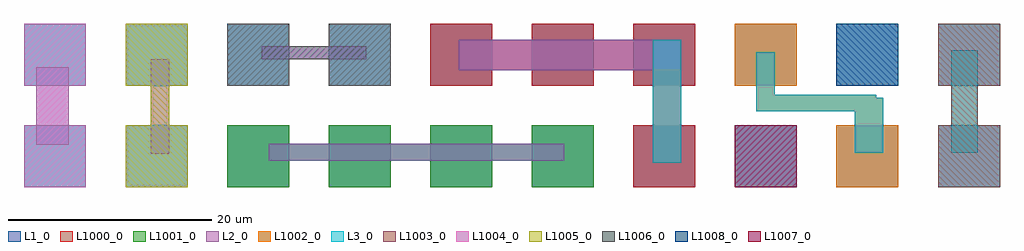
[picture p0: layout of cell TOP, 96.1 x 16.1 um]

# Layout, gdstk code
import gdstk
lib = gdstk.Library(unit=1e-6, precision=1e-09)
def R(c, l, rs):  # rectangles x0, y0, x1, y1
    for r in rs: c.add(gdstk.rectangle(r[:2], r[2:], *l))
def A(c, l, x, y, w, h, nx, ny, dx, dy):  # array of equal rectangles
    R(c, l, [(x+i*dx, y+j*dy, x+i*dx+w, y+j*dy+h) for i in range(nx) for j in range(ny)])
L1_0 = (1, 0)
L2_0 = (2, 0)
L3_0 = (3, 0)
L1000_0 = (1000, 0)
L1001_0 = (1001, 0)
L1002_0 = (1002, 0)
L1003_0 = (1003, 0)
L1004_0 = (1004, 0)
L1005_0 = (1005, 0)
L1006_0 = (1006, 0)
L1007_0 = (1007, 0)
L1008_0 = (1008, 0)

c_c1 = lib.new_cell('C1')
R(c_c1, L1_0, [(-2.9,-2.9,3.2,3.2)])

top = lib.new_cell('TOP')
R(top, L2_0, [(38.6,8.6,67.7,10.3), (27,9.3,28.8,18.6), (15.7,10.2,18.9,17.8), (57.3,17.5,79.1,20.5), (37.9,18.6,48.2,19.9)])
R(top, L3_0, [(76.4,8.4,79.2,20.5), (96.3,9.4,99.1,14.8), (105.8,9.4,108.4,19.5), (86.6,13.5,98.4,15.1), (86.6,14.7,88.4,19.3)])
A(top, L1000_0, 54.5, 16, 6.1, 6.1, 3, 1, 10, 0)
R(top, L1000_0, [(74.5,6,80.6,12.1), (76.4,8.4,79.2,20.5), (57.3,17.5,79.1,20.5)])
A(top, L1001_0, 34.5, 6, 6.1, 6.1, 4, 1, 10, 0)
R(top, L1001_0, [(38.6,8.6,67.7,10.3)])
R(top, L1002_0, [(94.5,6,100.6,12.1), (96.3,9.4,99.1,14.8), (86.6,13.5,98.4,15.1), (86.6,14.7,88.4,19.3), (84.5,16,90.6,22.1)])
R(top, L1003_0, [(104.5,6,110.6,12.1), (105.8,9.4,108.4,19.5), (104.5,16,110.6,22.1)])
R(top, L1004_0, [(14.5,6,20.6,12.1), (15.7,10.2,18.9,17.8), (14.5,16,20.6,22.1)])
R(top, L1005_0, [(24.5,6,30.6,12.1), (27,9.3,28.8,18.6), (24.5,16,30.6,22.1)])
R(top, L1006_0, [(34.5,16,40.6,22.1), (44.5,16,50.6,22.1), (37.9,18.6,48.2,19.9)])
R(top, L1007_0, [(84.5,6,90.6,12.1)])
R(top, L1008_0, [(94.5,16,100.6,22.1)])
r = gdstk.Reference(c_c1, (17.4,8.9)); r.repetition = gdstk.Repetition(10, 2, v1=(10,0), v2=(0,10)); top.add(r)

lib.write_gds('TOP.gds')
